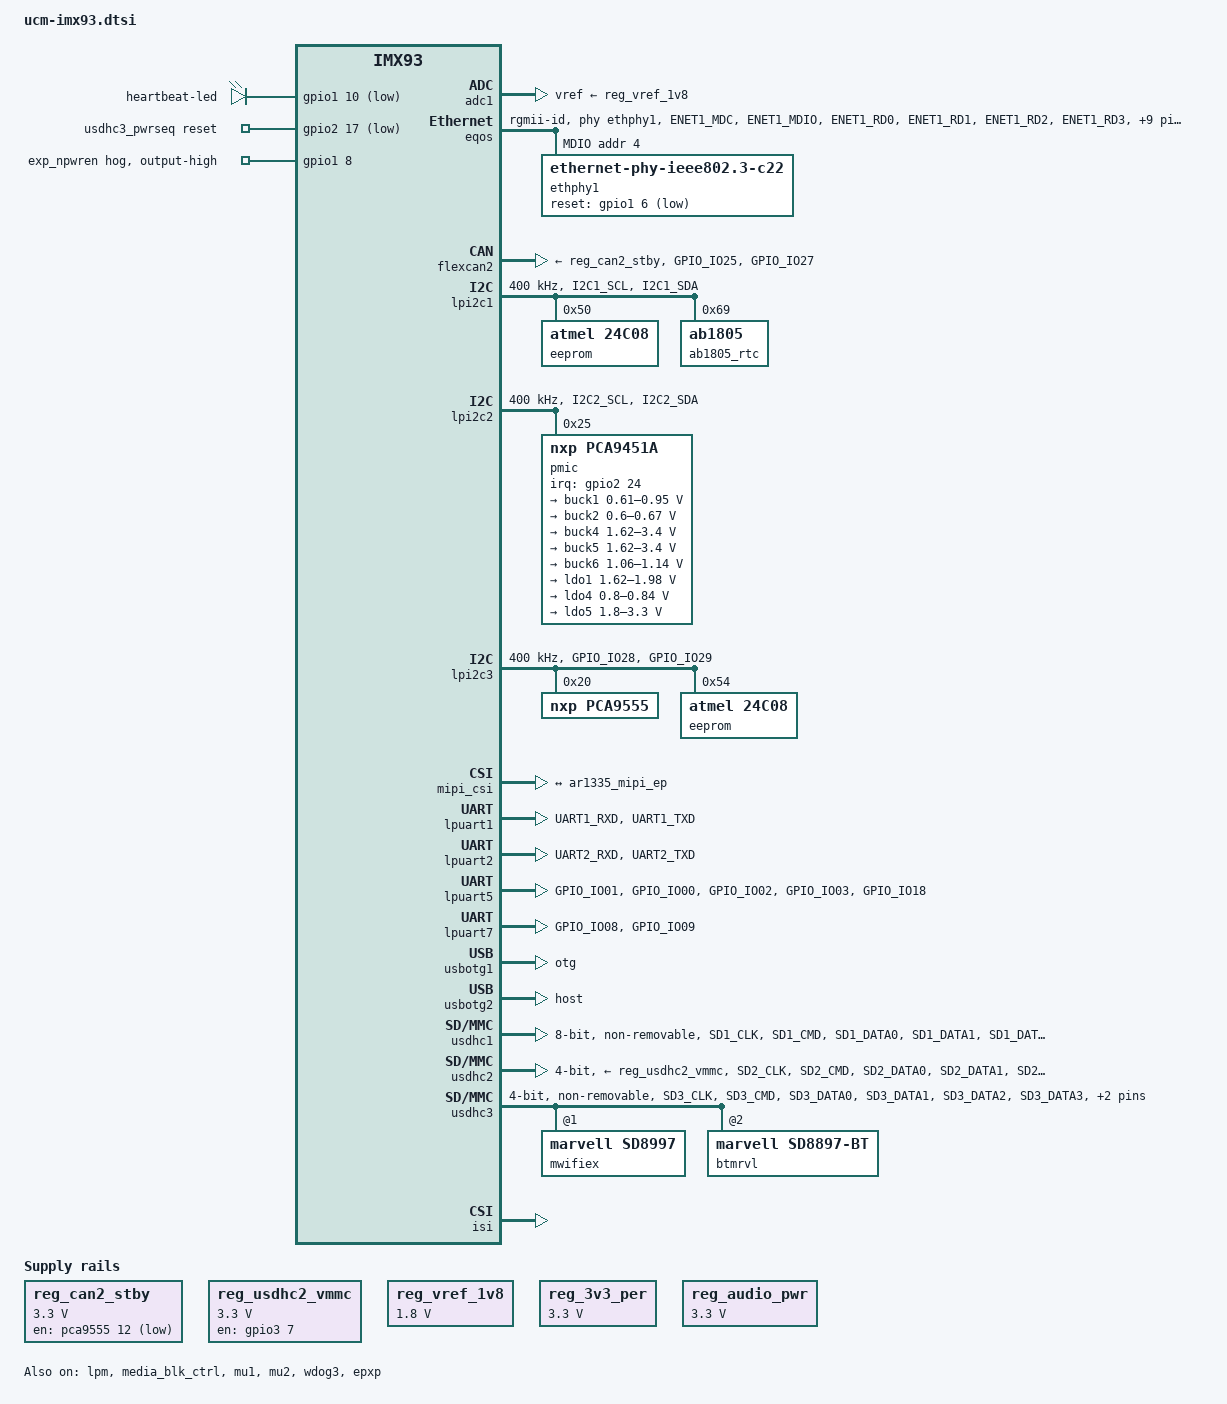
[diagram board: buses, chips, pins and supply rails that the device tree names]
// SPDX-License-Identifier: (GPL-2.0+ OR MIT)
/*
 * Copyright 2026 CompuLab Ltd.
 */

#include <dt-bindings/usb/pd.h>
#include "../freescale/imx93.dtsi"

&ele_fw2 {
	memory-region = <&ele_reserved>;
};

/ {
	aliases {
		ethernet0 = &eqos;
		ethernet1 = &fec;
		gpio0 = &gpio1;
		gpio1 = &gpio2;
		gpio2 = &gpio3;
		gpio3 = &gpio4;
		i2c0 = &lpi2c1;
		i2c1 = &lpi2c2;
		i2c2 = &lpi2c3;
		i2c3 = &lpi2c4;
		i2c4 = &lpi2c5;
		i2c5 = &lpi2c6;
		i2c6 = &lpi2c7;
		i2c7 = &lpi2c8;
		mmc0 = &usdhc1;
		mmc1 = &usdhc2;
		mmc2 = &usdhc3;
		rtc0 = &ab1805_rtc;
		rtc1 = &bbnsm_rtc;
		serial0 = &lpuart1;
		serial1 = &lpuart2;
		serial4 = &lpuart5;
		serial6 = &lpuart7;
	};

	chosen {
		stdout-path = &lpuart1;
	};

	leds {
		compatible = "gpio-leds";
		pinctrl-names = "default";
		pinctrl-0 = <&pinctrl_gpio_led>;

		heartbeat-led {
			gpios = <&gpio1 10 GPIO_ACTIVE_LOW>;
			linux,default-trigger = "heartbeat";
		};
	};

	reserved-memory {
		#address-cells = <2>;
		#size-cells = <2>;
		ranges;

		linux,cma {
			compatible = "shared-dma-pool";
			reusable;
			/* Base and size; keep CMA below the OP-TEE reservation. */
			alloc-ranges = <0 0x80000000 0 0x16000000>;
			size = <0 0x8000000>;
			linux,cma-default;
		};

		vdev0vring0: vdev0vring0@a4000000 {
			reg = <0 0xa4000000 0 0x8000>;
			no-map;
		};

		vdev0vring1: vdev0vring1@a4008000 {
			reg = <0 0xa4008000 0 0x8000>;
			no-map;
		};

		vdev1vring0: vdev1vring0@a4010000 {
			reg = <0 0xa4010000 0 0x8000>;
			no-map;
		};

		vdev1vring1: vdev1vring1@a4018000 {
			reg = <0 0xa4018000 0 0x8000>;
			no-map;
		};

		rsc_table: rsc-table@2021e000 {
			reg = <0 0x2021e000 0 0x1000>;
			no-map;
		};

		vdevbuffer: vdevbuffer@a4020000 {
			compatible = "shared-dma-pool";
			reg = <0 0xa4020000 0 0x100000>;
			no-map;
		};

		ele_reserved: ele-reserved@a4120000 {
			compatible = "shared-dma-pool";
			reg = <0 0xa4120000 0 0x100000>;
			no-map;
		};
	};

	reg_can2_stby: regulator-can2-stby {
		compatible = "regulator-fixed";
		regulator-name = "can2-stby";
		regulator-min-microvolt = <3300000>;
		regulator-max-microvolt = <3300000>;
		gpio = <&pca9555 12 GPIO_ACTIVE_LOW>;
		enable-active-low;
	};

	reg_usdhc2_vmmc: regulator-usdhc2 {
		compatible = "regulator-fixed";
		pinctrl-names = "default";
		pinctrl-0 = <&pinctrl_reg_usdhc2_vmmc>;
		regulator-name = "VSD_3V3";
		regulator-min-microvolt = <3300000>;
		regulator-max-microvolt = <3300000>;
		gpio = <&gpio3 7 GPIO_ACTIVE_HIGH>;
		off-on-delay-us = <12000>;
		enable-active-high;
	};

	reg_vref_1v8: regulator-adc-vref {
		compatible = "regulator-fixed";
		regulator-name = "vref_1v8";
		regulator-min-microvolt = <1800000>;
		regulator-max-microvolt = <1800000>;
	};

	reg_3v3_per: regulator-3v3-per {
		compatible = "regulator-fixed";
		regulator-name = "3V3_PER";
		regulator-min-microvolt = <3300000>;
		regulator-max-microvolt = <3300000>;
		regulator-always-on;
	};

	usdhc3_pwrseq: usdhc3_pwrseq {
		compatible = "mmc-pwrseq-simple";
		reset-gpios = <&gpio2 17 GPIO_ACTIVE_LOW>;
	};

	reg_audio_pwr: regulator-audio-pwr {
		compatible = "regulator-fixed";
		regulator-name = "audio-pwr";
		regulator-min-microvolt = <3300000>;
		regulator-max-microvolt = <3300000>;
		enable-active-high;
		regulator-always-on;
	};

	sound-wm8962 {
		compatible = "fsl,imx-audio-wm8962x";
		model = "wm8962-audio";
		audio-cpu = <&sai1>;
		audio-codec = <&codec>;
		audio-routing =
			"Headphone Jack", "HPOUTL",
			"Headphone Jack", "HPOUTR",
			"Ext Spk", "SPKOUTL",
			"Ext Spk", "SPKOUTR",
			"AMIC", "MICBIAS",
			"IN3R", "AMIC",
			"IN1R", "AMIC";
	};

	sound-micfil {
		compatible = "fsl,imx-audio-card";
		model = "micfil-audio";

		pri-dai-link {
			link-name = "micfil hifi";
			format = "i2s";
			cpu {
				sound-dai = <&micfil>;
			};
		};
	};

	sound-xcvr {
		compatible = "fsl,imx-audio-card";
		model = "imx-audio-xcvr";
		pri-dai-link {
			link-name = "XCVR PCM";
			cpu {
				sound-dai = <&xcvr>;
			};
		};
	};
};

&adc1 {
	vref-supply = <&reg_vref_1v8>;
	status = "okay";
};

&aips2 {
	tpm5: pwm@42500000 {
		compatible = "fsl,imx7ulp-pwm";
		reg = <0x42500000 0x1000>;
		clocks = <&clk IMX93_CLK_TPM5_GATE>;
		assigned-clocks = <&clk IMX93_CLK_TPM5>;
		assigned-clock-parents = <&clk IMX93_CLK_24M>;
		assigned-clock-rates = <24000000>;
		#pwm-cells = <3>;
		status = "disabled";
	};
};

&micfil {
	#sound-dai-cells = <0>;
	pinctrl-names = "default";
	pinctrl-0 = <&pinctrl_pdm>;
	assigned-clocks = <&clk IMX93_CLK_PDM>;
	assigned-clock-parents = <&clk IMX93_CLK_AUDIO_PLL>;
	assigned-clock-rates = <49152000>;
	status = "disabled";
};

&xcvr {
	#sound-dai-cells = <0>;
	pinctrl-names = "default";
	pinctrl-0 = <&pinctrl_spdif>;
	clocks = <&clk IMX93_CLK_BUS_WAKEUP>,
		<&clk IMX93_CLK_SPDIF_GATE>,
		<&clk IMX93_CLK_DUMMY>,
		<&clk IMX93_CLK_AUD_XCVR_GATE>,
		<&clk IMX93_CLK_AUDIO_PLL>;
	clock-names = "ipg", "phy", "spba", "pll_ipg", "pll8k";
	assigned-clocks = <&clk IMX93_CLK_SPDIF>,
			 <&clk IMX93_CLK_AUDIO_XCVR>;
	assigned-clock-parents = <&clk IMX93_CLK_AUDIO_PLL>,
			 <&clk IMX93_CLK_SYS_PLL_PFD1_DIV2>;
	assigned-clock-rates = <12288000>, <200000000>;
	status = "disabled";
};

&eqos {
	pinctrl-names = "default", "sleep";
	pinctrl-0 = <&pinctrl_eqos>;
	pinctrl-1 = <&pinctrl_eqos_sleep>;
	phy-mode = "rgmii-id";
	phy-handle = <&ethphy1>;
	status = "okay";

	mdio {
		compatible = "snps,dwmac-mdio";
		#address-cells = <1>;
		#size-cells = <0>;
		clock-frequency = <5000000>;

		ethphy1: ethernet-phy-eqos@4 {
			compatible = "ethernet-phy-ieee802.3-c22";
			reset-gpios = <&gpio1 6 GPIO_ACTIVE_LOW>;
			reset-assert-us = <10000>;
			reset-deassert-us = <80000>;
			reg = <4>;
			eee-broken-1000t;
			rtl821x,aldps-disable;
			rtl821x,clkout-disable;
		};
	};
};

&fec {
	pinctrl-names = "default", "sleep";
	pinctrl-0 = <&pinctrl_fec>;
	pinctrl-1 = <&pinctrl_fec_sleep>;
	phy-mode = "rgmii-id";
	phy-handle = <&ethphy2>;
	fsl,magic-packet;
	status = "disabled";

	mdio {
		#address-cells = <1>;
		#size-cells = <0>;
		clock-frequency = <5000000>;

		ethphy2: ethernet-phy-fec@0 {
			compatible = "ethernet-phy-ieee802.3-c22";
			reg = <0>;
			eee-broken-1000t;
		};
	};
};

&flexcan2 {
	pinctrl-names = "default", "sleep";
	pinctrl-0 = <&pinctrl_flexcan2>;
	pinctrl-1 = <&pinctrl_flexcan2_sleep>;
	xceiver-supply = <&reg_can2_stby>;
	status = "okay";
};

&lpm {
	soc-supply = <&buck1>;
    ld-mode-enabled;
	status = "okay";
};

&gpio1 {
	regulator-gpioexp {
		gpio-hog;
		gpios = <8 GPIO_ACTIVE_HIGH>;
		line-name = "exp_npwren";
		output-high;
		pinctrl-names = "default";
		pinctrl-0 = <&pinctrl_gpioexp>;
	};
};

&lpi2c1 {
	clock-frequency = <400000>;
	pinctrl-names = "default";
	pinctrl-0 = <&pinctrl_lpi2c1>;
	status = "okay";

	eeprom@50 {
		compatible = "atmel,24c08";
		reg = <0x50>;
		pagesize = <16>;
	};

	ab1805_rtc: rtc@69 {
		compatible = "ab1805";
		reg = <0x69>;
		pagesize = <16>;
		sqw = "32768_Hz";
		xt-frequency = <32772300>;
		status = "okay";
	};
};

&lpi2c2 {
	clock-frequency = <400000>;
	pinctrl-names = "default";
	pinctrl-0 = <&pinctrl_lpi2c2>;
	status = "okay";

	pmic@25 {
		compatible = "nxp,pca9451a";
		reg = <0x25>;
		pinctrl-names = "default";
		pinctrl-0 = <&pinctrl_pmic>;
		interrupt-parent = <&gpio2>;
		interrupts = <24 IRQ_TYPE_LEVEL_LOW>;

		regulators {
			buck1: BUCK1 {
				regulator-name = "BUCK1";
				regulator-min-microvolt = <610000>;
				regulator-max-microvolt = <950000>;
				regulator-boot-on;
				regulator-always-on;
				regulator-ramp-delay = <3125>;
			};

			buck2: BUCK2 {
				regulator-name = "BUCK2";
				regulator-min-microvolt = <600000>;
				regulator-max-microvolt = <670000>;
				regulator-boot-on;
				regulator-always-on;
				regulator-ramp-delay = <3125>;
			};

			buck4: BUCK4 {
				regulator-name = "BUCK4";
				regulator-min-microvolt = <1620000>;
				regulator-max-microvolt = <3400000>;
				regulator-boot-on;
				regulator-always-on;
			};

			buck5: BUCK5 {
				regulator-name = "BUCK5";
				regulator-min-microvolt = <1620000>;
				regulator-max-microvolt = <3400000>;
				regulator-boot-on;
				regulator-always-on;
			};

			buck6: BUCK6 {
				regulator-name = "BUCK6";
				regulator-min-microvolt = <1060000>;
				regulator-max-microvolt = <1140000>;
				regulator-boot-on;
				regulator-always-on;
			};

			ldo1: LDO1 {
				regulator-name = "LDO1";
				regulator-min-microvolt = <1620000>;
				regulator-max-microvolt = <1980000>;
				regulator-boot-on;
				regulator-always-on;
			};

			ldo4: LDO4 {
				regulator-name = "LDO4";
				regulator-min-microvolt = <800000>;
				regulator-max-microvolt = <840000>;
				regulator-boot-on;
				regulator-always-on;
			};

			ldo5: LDO5 {
				regulator-name = "LDO5";
				regulator-min-microvolt = <1800000>;
				regulator-max-microvolt = <3300000>;
				regulator-boot-on;
				regulator-always-on;
			};
		};
	};
};

&lpi2c3 {
	clock-frequency = <400000>;
	pinctrl-names = "default";
	pinctrl-0 = <&pinctrl_lpi2c3>;
	status = "okay";

	codec: wm8962@1a {
		compatible = "wlf,wm8962";
		reg = <0x1a>;
		clocks = <&clk IMX93_CLK_SAI1_GATE>;
		DCVDD-supply = <&reg_audio_pwr>;
		DBVDD-supply = <&reg_audio_pwr>;
		AVDD-supply = <&reg_audio_pwr>;
		CPVDD-supply = <&reg_audio_pwr>;
		MICVDD-supply = <&reg_audio_pwr>;
		PLLVDD-supply = <&reg_audio_pwr>;
		SPKVDD1-supply = <&reg_audio_pwr>;
		SPKVDD2-supply = <&reg_audio_pwr>;
		gpio-cfg = <
			0x0000 /* 0:Default */
			0x0000 /* 1:Default */
			0x0000 /* 2:FN_DMICCLK */
			0x0000 /* 3:Default */
			0x0000 /* 4:FN_DMICCDAT */
			0x0000 /* 5:Default */
		>;
		status = "disabled";
	};

        pca9555:pca9555@20 {
                compatible = "nxp,pca9555";
                gpio-controller;
                #gpio-cells = <2>;
                reg = <0x20>;
        };

	eeprom@54 {
		compatible = "atmel,24c08";
		reg = <0x54>;
		pagesize = <16>;
	};

	goodix_ts: goodix@5d {
		compatible = "goodix,gt911";
		reg = <0x5d>;
		pinctrl-names = "default";
		status = "disabled";
	};

	sensor_mipi2: mipi2@42 {
		compatible = "aptina,ar1335_mcu";
		reg = <0x42>;
		clocks = <&clk IMX93_CLK_MIPI_PHY_CFG>;
		clock-names = "xclk";
		pwdn-gpios = <&pca9555 8 GPIO_ACTIVE_HIGH>;
		pwn-gpios = <&pca9555 8 GPIO_ACTIVE_HIGH>;
		rst-gpios = <&pca9555 9 GPIO_ACTIVE_LOW>;
		mclk = <24000000>;
		mclk_source = <0>;
		mipi_csi;
		camera_mipi_lanes = <2>;
		status = "disabled";

		port {
			ar1335_mipi_ep: endpoint {
				remote-endpoint = <&mipi_csi_ep>;
				data-lanes = <1 2>;
				clock-lanes = <0>;
			};
		};
	};
};

&mipi_csi {
        #address-cells = <1>;
        #size-cells = <0>;
        status = "okay";

        port@0 {
                reg = <0>;
                mipi_csi_ep: endpoint {
                        remote-endpoint = <&ar1335_mipi_ep>;
				data-lanes = <1 2>;
                        cfg-clk-range = <28>;
                        hs-clk-range = <0x2b>;
                        bus-type = <4>;
                };
        };
};

&lpuart1 { /* console */
	pinctrl-names = "default";
	pinctrl-0 = <&pinctrl_uart1>;
	status = "okay";
};

&lpuart2 { /* RS232/DB9/P17 */
	pinctrl-names = "default";
	pinctrl-0 = <&pinctrl_uart2>;
	status = "okay";
};

&lpuart5 {
	/* BT */
	pinctrl-names = "default";
	pinctrl-0 = <&pinctrl_uart5>;
	/*fsl,uart-has-rtscts;*/
	status = "okay";
};

&lpuart7 { /* RS485/_/J22 */
	pinctrl-names = "default";
	pinctrl-0 = <&pinctrl_uart7>;
	status = "okay";
};

&media_blk_ctrl {
	status = "okay";
};

&mu1 {
	status = "okay";
};

&mu2 {
	status = "okay";
};

&sai1 {
	pinctrl-names = "default";
	pinctrl-0 = <&pinctrl_sai1>;
	assigned-clocks = <&clk IMX93_CLK_SAI1>;
	assigned-clock-parents = <&clk IMX93_CLK_AUDIO_PLL>;
	assigned-clock-rates = <12288000>;
	fsl,sai-mclk-direction-output;
	status = "disabled";
};

&sai3 {
	pinctrl-names = "default", "sleep";
	pinctrl-0 = <&pinctrl_sai3>;
	pinctrl-1 = <&pinctrl_sai3_sleep>;
	assigned-clocks = <&clk IMX93_CLK_SAI3>;
	assigned-clock-parents = <&clk IMX93_CLK_AUDIO_PLL>;
	assigned-clock-rates = <12288000>;
	fsl,sai-mclk-direction-output;
	status = "disabled";
};

&usbotg1 {
	dr_mode = "otg";
	disable-over-current;
	samsung,picophy-pre-emp-curr-control = <3>;
	samsung,picophy-dc-vol-level-adjust = <7>;
	status = "okay";
};

&usbotg2 {
	dr_mode = "host";
	hnp-disable;
	srp-disable;
	adp-disable;
	/*usb-role-switch;*/
	disable-over-current;
	samsung,picophy-pre-emp-curr-control = <3>;
	samsung,picophy-dc-vol-level-adjust = <7>;
	status = "okay";
};

&usdhc1 {
	pinctrl-names = "default", "state_100mhz", "state_200mhz";
	pinctrl-0 = <&pinctrl_usdhc1>;
	pinctrl-1 = <&pinctrl_usdhc1_100mhz>;
	pinctrl-2 = <&pinctrl_usdhc1_200mhz>;
	bus-width = <8>;
	fsl,tuning-step = <1>;
	non-removable;
	status = "okay";
};

&usdhc2 {
	pinctrl-names = "default", "state_100mhz", "state_200mhz";
	pinctrl-0 = <&pinctrl_usdhc2>, <&pinctrl_usdhc2_gpio>;
	pinctrl-1 = <&pinctrl_usdhc2>, <&pinctrl_usdhc2_gpio>;
	pinctrl-2 = <&pinctrl_usdhc2>, <&pinctrl_usdhc2_gpio>;
	cd-gpios = <&gpio3 00 GPIO_ACTIVE_LOW>;
	vmmc-supply = <&reg_usdhc2_vmmc>;
	bus-width = <4>;
	status = "okay";
	no-sdio;
	no-mmc;
};

&usdhc3 {
	pinctrl-names = "default", "state_100mhz", "state_200mhz", "sleep";
	pinctrl-0 = <&pinctrl_usdhc3>, <&pinctrl_usdhc3_wlan>;
	pinctrl-1 = <&pinctrl_usdhc3_100mhz>, <&pinctrl_usdhc3_wlan>;
	pinctrl-2 = <&pinctrl_usdhc3_200mhz>, <&pinctrl_usdhc3_wlan>;
	pinctrl-3 = <&pinctrl_usdhc3_sleep>, <&pinctrl_usdhc3_wlan>;
	mmc-pwrseq = <&usdhc3_pwrseq>;
	bus-width = <4>;
	keep-power-in-suspend;
	non-removable;
	wakeup-source;
	status = "okay";

	mwifiex: wifi@1 {
		compatible = "marvell,sd8997";
		reg = <1>;
	};

	btmrvl: btmrvl@2 {
		compatible = "marvell,sd8897-bt";
		reg = <2>;
	};
};

&wdog3 {
	status = "okay";
};

&epxp {
	status = "okay";
};

&isi {
	status = "okay";

	cap_device {
		status = "okay";
	};
};

&cpu_alert {
	temperature = <95000>;
};

&cpu_crit {
	temperature = <105000>;
};

&iomuxc {
	pinctrl_gpio_led: gpioledgrp {
		fsl,pins = <
			MX93_PAD_PDM_BIT_STREAM1__GPIO1_IO10	0x206
		>;
	};

	pinctrl_eqos: eqosgrp {
		fsl,pins = <
			MX93_PAD_ENET1_MDC__ENET_QOS_MDC			0x57e
			MX93_PAD_ENET1_MDIO__ENET_QOS_MDIO			0x57e
			MX93_PAD_ENET1_RD0__ENET_QOS_RGMII_RD0			0x57e
			MX93_PAD_ENET1_RD1__ENET_QOS_RGMII_RD1			0x57e
			MX93_PAD_ENET1_RD2__ENET_QOS_RGMII_RD2			0x57e
			MX93_PAD_ENET1_RD3__ENET_QOS_RGMII_RD3			0x57e
			MX93_PAD_ENET1_RXC__CCM_ENET_QOS_CLOCK_GENERATE_RX_CLK	0x58e
			MX93_PAD_ENET1_RX_CTL__ENET_QOS_RGMII_RX_CTL		0x57e
			MX93_PAD_ENET1_TD0__ENET_QOS_RGMII_TD0			0x57e
			MX93_PAD_ENET1_TD1__ENET_QOS_RGMII_TD1			0x57e
			MX93_PAD_ENET1_TD2__ENET_QOS_RGMII_TD2			0x57e
			MX93_PAD_ENET1_TD3__ENET_QOS_RGMII_TD3			0x57e
			MX93_PAD_ENET1_TXC__CCM_ENET_QOS_CLOCK_GENERATE_TX_CLK	0x58e
			MX93_PAD_ENET1_TX_CTL__ENET_QOS_RGMII_TX_CTL		0x57e
			/* reset phy gpio */
			MX93_PAD_GPIO_IO06__GPIO2_IO06				0x31e
		>;
	};

	pinctrl_eqos_sleep: eqossleepgrp {
		fsl,pins = <
			MX93_PAD_ENET1_MDC__GPIO4_IO00				0x31e
			MX93_PAD_ENET1_MDIO__GPIO4_IO01				0x31e
			MX93_PAD_ENET1_RD0__GPIO4_IO10                          0x31e
			MX93_PAD_ENET1_RD1__GPIO4_IO11				0x31e
			MX93_PAD_ENET1_RD2__GPIO4_IO12				0x31e
			MX93_PAD_ENET1_RD3__GPIO4_IO13				0x31e
			MX93_PAD_ENET1_RXC__GPIO4_IO09                          0x31e
			MX93_PAD_ENET1_RX_CTL__GPIO4_IO08			0x31e
			MX93_PAD_ENET1_TD0__GPIO4_IO05                          0x31e
			MX93_PAD_ENET1_TD1__GPIO4_IO04                          0x31e
			MX93_PAD_ENET1_TD2__GPIO4_IO03				0x31e
			MX93_PAD_ENET1_TD3__GPIO4_IO02				0x31e
			MX93_PAD_ENET1_TXC__GPIO4_IO07                          0x31e
			MX93_PAD_ENET1_TX_CTL__GPIO4_IO06                       0x31e
		>;
	};

	pinctrl_fec: fecgrp {
		fsl,pins = <
			MX93_PAD_ENET2_MDC__ENET1_MDC			0x57e
			MX93_PAD_ENET2_MDIO__ENET1_MDIO			0x57e
			MX93_PAD_ENET2_RD0__ENET1_RGMII_RD0		0x57e
			MX93_PAD_ENET2_RD1__ENET1_RGMII_RD1		0x57e
			MX93_PAD_ENET2_RD2__ENET1_RGMII_RD2		0x57e
			MX93_PAD_ENET2_RD3__ENET1_RGMII_RD3		0x57e
			MX93_PAD_ENET2_RXC__ENET1_RGMII_RXC		0x58e
			MX93_PAD_ENET2_RX_CTL__ENET1_RGMII_RX_CTL	0x57e
			MX93_PAD_ENET2_TD0__ENET1_RGMII_TD0		0x57e
			MX93_PAD_ENET2_TD1__ENET1_RGMII_TD1		0x57e
			MX93_PAD_ENET2_TD2__ENET1_RGMII_TD2		0x57e
			MX93_PAD_ENET2_TD3__ENET1_RGMII_TD3		0x57e
			MX93_PAD_ENET2_TXC__ENET1_RGMII_TXC		0x58e
			MX93_PAD_ENET2_TX_CTL__ENET1_RGMII_TX_CTL	0x57e
		>;
	};

	pinctrl_fec_sleep: fecsleepgrp {
		fsl,pins = <
			MX93_PAD_ENET2_MDC__GPIO4_IO14			0x51e
			MX93_PAD_ENET2_MDIO__GPIO4_IO15			0x51e
			MX93_PAD_ENET2_RD0__GPIO4_IO24			0x51e
			MX93_PAD_ENET2_RD1__GPIO4_IO25			0x51e
			MX93_PAD_ENET2_RD2__GPIO4_IO26			0x51e
			MX93_PAD_ENET2_RD3__GPIO4_IO27			0x51e
			MX93_PAD_ENET2_RXC__GPIO4_IO23                  0x51e
			MX93_PAD_ENET2_RX_CTL__GPIO4_IO22		0x51e
			MX93_PAD_ENET2_TD0__GPIO4_IO19			0x51e
			MX93_PAD_ENET2_TD1__GPIO4_IO18			0x51e
			MX93_PAD_ENET2_TD2__GPIO4_IO17			0x51e
			MX93_PAD_ENET2_TD3__GPIO4_IO16			0x51e
			MX93_PAD_ENET2_TXC__GPIO4_IO21                  0x51e
			MX93_PAD_ENET2_TX_CTL__GPIO4_IO20               0x51e
		>;
	};

	pinctrl_flexcan2: flexcan2grp {
		fsl,pins = <
			MX93_PAD_GPIO_IO25__CAN2_TX	0x139e
			MX93_PAD_GPIO_IO27__CAN2_RX	0x139e
		>;
	};

	pinctrl_flexcan2_sleep: flexcan2sleepgrp {
		fsl,pins = <
			MX93_PAD_GPIO_IO25__GPIO2_IO25  0x31e
			MX93_PAD_GPIO_IO27__GPIO2_IO27	0x31e
		>;
	};

	pinctrl_uart1: uart1grp {
		fsl,pins = <
			MX93_PAD_UART1_RXD__LPUART1_RX			0x31e
			MX93_PAD_UART1_TXD__LPUART1_TX			0x31e
		>;
	};

	pinctrl_uart2: uart2grp {
		fsl,pins = <
			MX93_PAD_UART2_RXD__LPUART2_RX		0x31e
			MX93_PAD_UART2_TXD__LPUART2_TX		0x31e
		>;
	};

	pinctrl_uart5: uart5grp {
		fsl,pins = <
			MX93_PAD_GPIO_IO01__LPUART5_RX		0x31e
			MX93_PAD_GPIO_IO00__LPUART5_TX		0x31e
			MX93_PAD_GPIO_IO02__LPUART5_CTS_B	0x31e
			MX93_PAD_GPIO_IO03__LPUART5_RTS_B	0x31e
			MX93_PAD_GPIO_IO18__GPIO2_IO18		0x31e
		>;
	};

	pinctrl_uart7: uart7grp {
		fsl,pins = <
			MX93_PAD_GPIO_IO08__LPUART7_TX		0x31e
			MX93_PAD_GPIO_IO09__LPUART7_RX		0x31e
		>;
	};

	pinctrl_lpi2c1: lpi2c1grp {
		fsl,pins = <
			MX93_PAD_I2C1_SCL__LPI2C1_SCL			0x40000b9e
			MX93_PAD_I2C1_SDA__LPI2C1_SDA			0x40000b9e
		>;
	};

	pinctrl_lpi2c2: lpi2c2grp {
		fsl,pins = <
			MX93_PAD_I2C2_SCL__LPI2C2_SCL			0x40000b9e
			MX93_PAD_I2C2_SDA__LPI2C2_SDA			0x40000b9e
		>;
	};

	pinctrl_lpi2c3: lpi2c3grp {
		fsl,pins = <
			MX93_PAD_GPIO_IO28__LPI2C3_SDA			0x40000b9e
			MX93_PAD_GPIO_IO29__LPI2C3_SCL			0x40000b9e
		>;
	};

	pinctrl_pcal6524: pcal6524grp {
		fsl,pins = <
			MX93_PAD_CCM_CLKO2__GPIO3_IO27			0x31e
		>;
	};

	pinctrl_sai1: sai1grp {
		fsl,pins = <
			MX93_PAD_SAI1_TXC__SAI1_TX_BCLK			0x31e
			MX93_PAD_SAI1_TXFS__SAI1_TX_SYNC		0x31e
			MX93_PAD_SAI1_TXD0__SAI1_TX_DATA00		0x31e
			MX93_PAD_SAI1_RXD0__SAI1_RX_DATA00		0x31e
		>;
	};

	pinctrl_sai3: sai3grp {
		fsl,pins = <
			MX93_PAD_GPIO_IO26__SAI3_TX_SYNC		0x31e
			MX93_PAD_GPIO_IO16__SAI3_TX_BCLK		0x31e
			/*MX93_PAD_GPIO_IO17__SAI3_MCLK		0x31e*/
			MX93_PAD_GPIO_IO19__SAI3_TX_DATA00		0x31e
			MX93_PAD_GPIO_IO20__SAI3_RX_DATA00		0x31e
		>;
	};

	/* need to config the SION for data and cmd pad, refer to ERR052021 */
	pinctrl_usdhc1: usdhc1grp {
		fsl,pins = <
			MX93_PAD_SD1_CLK__USDHC1_CLK		0x1582
			MX93_PAD_SD1_CMD__USDHC1_CMD		0x40001382
			MX93_PAD_SD1_DATA0__USDHC1_DATA0	0x40001382
			MX93_PAD_SD1_DATA1__USDHC1_DATA1	0x40001382
			MX93_PAD_SD1_DATA2__USDHC1_DATA2	0x40001382
			MX93_PAD_SD1_DATA3__USDHC1_DATA3	0x40001382
			MX93_PAD_SD1_DATA4__USDHC1_DATA4	0x40001382
			MX93_PAD_SD1_DATA5__USDHC1_DATA5	0x40001382
			MX93_PAD_SD1_DATA6__USDHC1_DATA6	0x40001382
			MX93_PAD_SD1_DATA7__USDHC1_DATA7	0x40001382
			MX93_PAD_SD1_STROBE__USDHC1_STROBE	0x1582
		>;
	};

	/* need to config the SION for data and cmd pad, refer to ERR052021 */
	pinctrl_usdhc1_100mhz: usdhc1-100mhzgrp {
		fsl,pins = <
			MX93_PAD_SD1_CLK__USDHC1_CLK		0x158e
			MX93_PAD_SD1_CMD__USDHC1_CMD		0x4000138e
			MX93_PAD_SD1_DATA0__USDHC1_DATA0	0x4000138e
			MX93_PAD_SD1_DATA1__USDHC1_DATA1	0x4000138e
			MX93_PAD_SD1_DATA2__USDHC1_DATA2	0x4000138e
			MX93_PAD_SD1_DATA3__USDHC1_DATA3	0x4000138e
			MX93_PAD_SD1_DATA4__USDHC1_DATA4	0x4000138e
			MX93_PAD_SD1_DATA5__USDHC1_DATA5	0x4000138e
			MX93_PAD_SD1_DATA6__USDHC1_DATA6	0x4000138e
			MX93_PAD_SD1_DATA7__USDHC1_DATA7	0x4000138e
			MX93_PAD_SD1_STROBE__USDHC1_STROBE	0x158e
		>;
	};

	/* need to config the SION for data and cmd pad, refer to ERR052021 */
	pinctrl_usdhc1_200mhz: usdhc1-200mhzgrp {
		fsl,pins = <
			MX93_PAD_SD1_CLK__USDHC1_CLK		0x15fe
			MX93_PAD_SD1_CMD__USDHC1_CMD		0x400013fe
			MX93_PAD_SD1_DATA0__USDHC1_DATA0	0x400013fe
			MX93_PAD_SD1_DATA1__USDHC1_DATA1	0x400013fe
			MX93_PAD_SD1_DATA2__USDHC1_DATA2	0x400013fe
			MX93_PAD_SD1_DATA3__USDHC1_DATA3	0x400013fe
			MX93_PAD_SD1_DATA4__USDHC1_DATA4	0x400013fe
			MX93_PAD_SD1_DATA5__USDHC1_DATA5	0x400013fe
			MX93_PAD_SD1_DATA6__USDHC1_DATA6	0x400013fe
			MX93_PAD_SD1_DATA7__USDHC1_DATA7	0x400013fe
			MX93_PAD_SD1_STROBE__USDHC1_STROBE	0x15fe
		>;
	};

	pinctrl_reg_usdhc2_vmmc: regusdhc2vmmcgrp {
		fsl,pins = <
			MX93_PAD_SD2_RESET_B__GPIO3_IO07	0x31e
		>;
	};

	pinctrl_sai3_sleep: sai3sleepgrp {
		fsl,pins = <
			MX93_PAD_GPIO_IO26__GPIO2_IO26			0x51e
			MX93_PAD_GPIO_IO16__GPIO2_IO16			0x51e
			MX93_PAD_GPIO_IO17__GPIO2_IO17			0x51e
			MX93_PAD_GPIO_IO19__GPIO2_IO19			0x51e
			MX93_PAD_GPIO_IO20__GPIO2_IO20			0x51e
		>;
	};

	pinctrl_usdhc2_gpio: usdhc2gpiogrp {
		fsl,pins = <
			MX93_PAD_SD2_CD_B__GPIO3_IO00		0x31e
		>;
	};

	pinctrl_usdhc2_gpio_sleep: usdhc2gpiosleepgrp {
		fsl,pins = <
			MX93_PAD_SD2_CD_B__GPIO3_IO00		0x51e
		>;
	};

	/* need to config the SION for data and cmd pad, refer to ERR052021 */
	pinctrl_usdhc2: usdhc2grp {
		fsl,pins = <
			MX93_PAD_SD2_CLK__USDHC2_CLK		0x17fe
			MX93_PAD_SD2_CMD__USDHC2_CMD		0x13fe
			MX93_PAD_SD2_DATA0__USDHC2_DATA0	0x13fe
			MX93_PAD_SD2_DATA1__USDHC2_DATA1	0x13fe
			MX93_PAD_SD2_DATA2__USDHC2_DATA2	0x13fe
			MX93_PAD_SD2_DATA3__USDHC2_DATA3	0x13fe
			MX93_PAD_SD2_VSELECT__USDHC2_VSELECT	0x51e
		>;
	};

	/* need to config the SION for data and cmd pad, refer to ERR052021 */
	pinctrl_usdhc2_100mhz: usdhc2-100mhzgrp {
		fsl,pins = <
			MX93_PAD_SD2_CLK__USDHC2_CLK		0x158e
			MX93_PAD_SD2_CMD__USDHC2_CMD		0x4000138e
			MX93_PAD_SD2_DATA0__USDHC2_DATA0	0x4000138e
			MX93_PAD_SD2_DATA1__USDHC2_DATA1	0x4000138e
			MX93_PAD_SD2_DATA2__USDHC2_DATA2	0x4000138e
			MX93_PAD_SD2_DATA3__USDHC2_DATA3	0x4000138e
			MX93_PAD_SD2_VSELECT__USDHC2_VSELECT	0x51e
		>;
	};

	/* need to config the SION for data and cmd pad, refer to ERR052021 */
	pinctrl_usdhc2_200mhz: usdhc2-200mhzgrp {
		fsl,pins = <
			MX93_PAD_SD2_CLK__USDHC2_CLK		0x15fe
			MX93_PAD_SD2_CMD__USDHC2_CMD		0x400013fe
			MX93_PAD_SD2_DATA0__USDHC2_DATA0	0x400013fe
			MX93_PAD_SD2_DATA1__USDHC2_DATA1	0x400013fe
			MX93_PAD_SD2_DATA2__USDHC2_DATA2	0x400013fe
			MX93_PAD_SD2_DATA3__USDHC2_DATA3	0x400013fe
			MX93_PAD_SD2_VSELECT__USDHC2_VSELECT	0x51e
		>;
	};

	pinctrl_usdhc2_sleep: usdhc2sleepgrp {
		fsl,pins = <
			MX93_PAD_SD2_CLK__GPIO3_IO01            0x51e
			MX93_PAD_SD2_CMD__GPIO3_IO02		0x51e
			MX93_PAD_SD2_DATA0__GPIO3_IO03		0x51e
			MX93_PAD_SD2_DATA1__GPIO3_IO04		0x51e
			MX93_PAD_SD2_DATA2__GPIO3_IO05		0x51e
			MX93_PAD_SD2_DATA3__GPIO3_IO06		0x51e
			MX93_PAD_SD2_VSELECT__GPIO3_IO19	0x51e
		>;
	};

	/* need to config the SION for data and cmd pad, refer to ERR052021 */
	pinctrl_usdhc3: usdhc3grp {
		fsl,pins = <
			MX93_PAD_SD3_CLK__USDHC3_CLK		0x1582
			MX93_PAD_SD3_CMD__USDHC3_CMD		0x40001382
			MX93_PAD_SD3_DATA0__USDHC3_DATA0	0x40001382
			MX93_PAD_SD3_DATA1__USDHC3_DATA1	0x40001382
			MX93_PAD_SD3_DATA2__USDHC3_DATA2	0x40001382
			MX93_PAD_SD3_DATA3__USDHC3_DATA3	0x40001382
		>;
	};

	/* need to config the SION for data and cmd pad, refer to ERR052021 */
	pinctrl_usdhc3_100mhz: usdhc3-100mhzgrp {
		fsl,pins = <
			MX93_PAD_SD3_CLK__USDHC3_CLK		0x15be
			MX93_PAD_SD3_CMD__USDHC3_CMD		0x400013be
			MX93_PAD_SD3_DATA0__USDHC3_DATA0	0x400013be
			MX93_PAD_SD3_DATA1__USDHC3_DATA1	0x400013be
			MX93_PAD_SD3_DATA2__USDHC3_DATA2	0x400013be
			MX93_PAD_SD3_DATA3__USDHC3_DATA3	0x400013be
		>;
	};

	/* need to config the SION for data and cmd pad, refer to ERR052021 */
	pinctrl_usdhc3_200mhz: usdhc3-200mhzgrp {
		fsl,pins = <
			MX93_PAD_SD3_CLK__USDHC3_CLK		0x15fe
			MX93_PAD_SD3_CMD__USDHC3_CMD		0x400013fe
			MX93_PAD_SD3_DATA0__USDHC3_DATA0	0x400013fe
			MX93_PAD_SD3_DATA1__USDHC3_DATA1	0x400013fe
			MX93_PAD_SD3_DATA2__USDHC3_DATA2	0x400013fe
			MX93_PAD_SD3_DATA3__USDHC3_DATA3	0x400013fe
		>;
	};

	pinctrl_usdhc3_sleep: usdhc3grpsleepgrp {
		fsl,pins = <
			MX93_PAD_SD3_CLK__GPIO3_IO20		0x31e
			MX93_PAD_SD3_CMD__GPIO3_IO21		0x31e
			MX93_PAD_SD3_DATA0__GPIO3_IO22		0x31e
			MX93_PAD_SD3_DATA1__GPIO3_IO23		0x31e
			MX93_PAD_SD3_DATA2__GPIO3_IO24		0x31e
			MX93_PAD_SD3_DATA3__GPIO3_IO25		0x31e
		>;
	};

	pinctrl_usdhc3_wlan: usdhc3wlangrp {
		fsl,pins = <
			MX93_PAD_CCM_CLKO1__GPIO3_IO26			0x31e
			MX93_PAD_GPIO_IO07__GPIO2_IO07			0x31e
		>;
	};

	pinctrl_reg_usdhc3_vmmc: regusdhc3vmmcgrp {
		fsl,pins = <
			MX93_PAD_GPIO_IO17__GPIO2_IO17			0x31e
		>;
	};

	pinctrl_reg_btregon: reg_btrego {
		fsl,pins = <
			MX93_PAD_GPIO_IO18__GPIO2_IO18			0x31e
		>;
	};

	pinctrl_pdm: pdmgrp {
		fsl,pins = <
			MX93_PAD_PDM_CLK__PDM_CLK			0x31e
			MX93_PAD_PDM_BIT_STREAM0__PDM_BIT_STREAM00	0x31e
			MX93_PAD_PDM_BIT_STREAM1__PDM_BIT_STREAM01	0x31e
		>;
	};

	pinctrl_spdif: spdifgrp {
		fsl,pins = <
			MX93_PAD_GPIO_IO22__SPDIF_IN		0x31e
			MX93_PAD_GPIO_IO23__SPDIF_OUT		0x31e
		>;
	};

	pinctrl_pmic: pmicirq {
		fsl,pins = <
			MX93_PAD_GPIO_IO24__GPIO2_IO24		0x31e
		>;
	};

	pinctrl_tpm5: tmp5grp {
		fsl,pins = <
			MX93_PAD_GPIO_IO22__TPM5_CH1		0x31e
		>;
	};

	touchscreen0_pins: ts0grp {
		fsl,pins = <
			MX93_PAD_GPIO_IO20__GPIO2_IO20		0x31e
		>;
	};
	touchscreen1_pins: ts1grp {
		fsl,pins = <
			MX93_PAD_GPIO_IO21__GPIO2_IO21		0x31e
		>;
	};

	pinctrl_gpioexp: gpioexp {
		fsl,pins = <
			MX93_PAD_PDM_CLK__GPIO1_IO08			0x31e
		>;
	};
};
